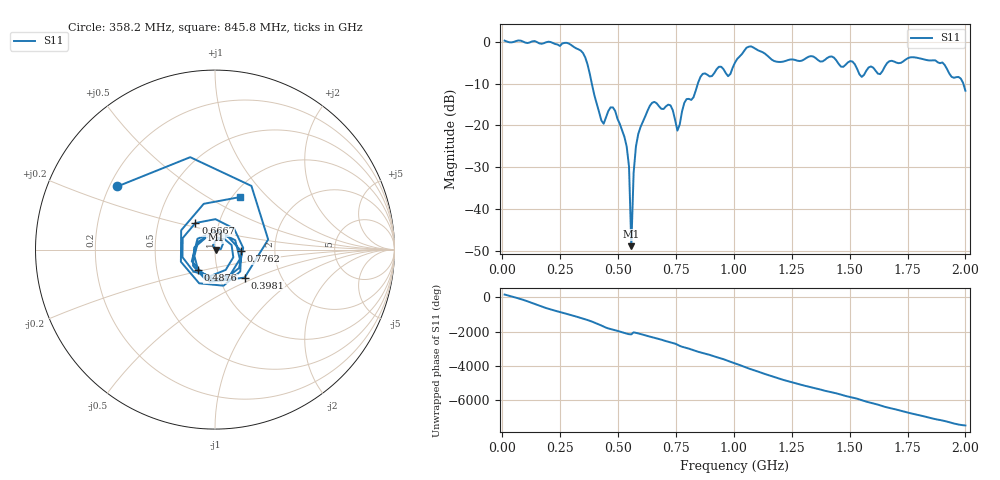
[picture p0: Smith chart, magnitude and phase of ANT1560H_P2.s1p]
!Created with skrf (http://scikit-rf.org).
# Hz S RI R 50.0
!freq ReS11 ImS11
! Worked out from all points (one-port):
!   201 points, 10 MHz to 2 GHz, reference 50 ohm
!   lowest |S11| = -48.8 dB at 557.2 MHz (marker M1), VSWR 1.01, Z = 50.4 - j0.0375 ohm
!   |S11| at or under -10 dB: 386.5 MHz to 844.6 MHz (458.1 MHz wide, 74.4 % of centre); 1.99083 GHz to end of sweep
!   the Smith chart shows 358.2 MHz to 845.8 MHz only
!   S11 on the Smith chart (normalised r, x): 358.2 MHz: 0.23, +0.28; 398.1 MHz: 1.31, -0.43; 487.6 MHz: 0.81, -0.19; 666.7 MHz: 0.77, +0.24; 776.1 MHz: 1.34, -0.02; 845.8 MHz: 1.08, +0.71
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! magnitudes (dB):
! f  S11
! 10 MHz  0.2
! 258.8 MHz  -0.5
! 358.2 MHz  -3.8
! 398.1 MHz  -12.9
! 437.9 MHz  -19.6
! 487.6 MHz  -16.5
! 507.5 MHz  -19.6
! 537.4 MHz  -25.1
! 547.3 MHz  -29.8
! 557.2 MHz  -48.8
! 567.2 MHz  -31.3
! 577.1 MHz  -25.0
! 636.9 MHz  -15.3
! 666.7 MHz  -14.7
! 726.4 MHz  -15.2
! 756.2 MHz  -21.2
! 776.1 MHz  -16.7
! 845.8 MHz  -9.8
! 935.4 MHz  -6.0
! 975.1 MHz  -8.3
! 1.005 GHz  -5.0
! 1.075 GHz  -1.2
! 1.254 GHz  -4.3
! 1.502 GHz  -4.7
! 1.552 GHz  -8.4
! 1.751 GHz  -4.0
! 1.901 GHz  -5.0
! 2 GHz  -11.7
